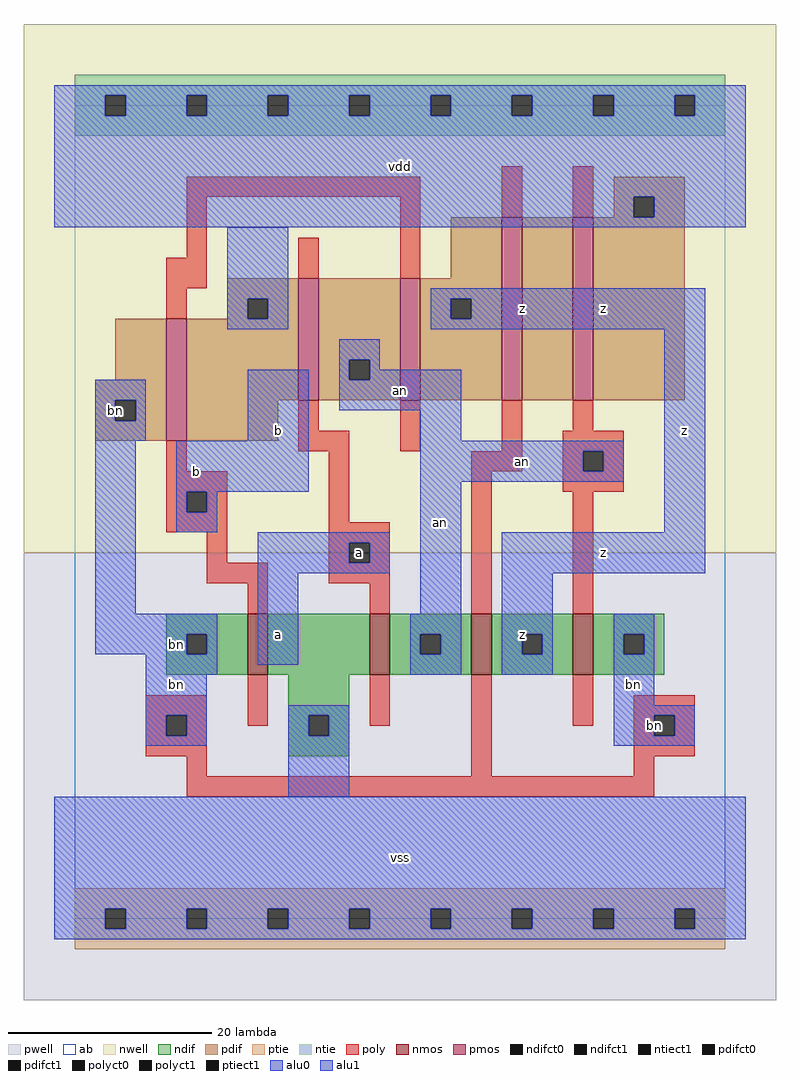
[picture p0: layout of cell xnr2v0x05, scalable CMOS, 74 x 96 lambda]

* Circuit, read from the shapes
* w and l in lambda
.subckt xnr2v0x05 a an b bn vdd vss z
M1 vss b bn vss nfet w=6 l=2
M2 an a vss vss nfet w=6 l=2
M3 z bn an vss nfet w=6 l=2
M4 bn an z vss nfet w=6 l=2
M5 vdd b bn vdd pfet w=12 l=2
M6 an a vdd vdd pfet w=12 l=2
M7 z b an vdd pfet w=12 l=2
M8 n1 bn z vdd pfet w=18 l=2
M9 vdd an n1 vdd pfet w=18 l=2
.ends

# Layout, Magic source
magic
tech scmos
<< ab >>
rect 0 0 64 80
<< nwell >>
rect -5 36 69 88
<< pwell >>
rect -5 -8 69 36
<< poly >>
rect 11 71 34 73
rect 11 65 13 71
rect 9 62 13 65
rect 22 63 24 67
rect 32 63 34 71
rect 42 69 44 74
rect 49 69 51 74
rect 9 59 11 62
rect 22 48 24 51
rect 9 44 11 47
rect 22 46 27 48
rect 32 46 34 51
rect 42 46 44 51
rect 49 48 51 51
rect 9 42 15 44
rect 9 40 11 42
rect 13 40 15 42
rect 9 38 15 40
rect 13 35 15 38
rect 25 39 27 46
rect 39 44 44 46
rect 48 46 54 48
rect 48 44 50 46
rect 52 44 54 46
rect 25 37 31 39
rect 25 35 27 37
rect 29 35 31 37
rect 13 33 19 35
rect 25 33 31 35
rect 17 30 19 33
rect 29 30 31 33
rect 39 30 41 44
rect 48 42 54 44
rect 49 30 51 42
rect 7 20 13 22
rect 7 18 9 20
rect 11 18 13 20
rect 17 19 19 24
rect 7 16 13 18
rect 29 19 31 24
rect 11 14 13 16
rect 39 14 41 24
rect 49 19 51 24
rect 55 20 61 22
rect 55 18 57 20
rect 59 18 61 20
rect 55 16 61 18
rect 55 14 57 16
rect 11 12 57 14
<< ndif >>
rect 9 28 17 30
rect 9 26 11 28
rect 13 26 17 28
rect 9 24 17 26
rect 19 24 29 30
rect 31 28 39 30
rect 31 26 34 28
rect 36 26 39 28
rect 31 24 39 26
rect 41 28 49 30
rect 41 26 44 28
rect 46 26 49 28
rect 41 24 49 26
rect 51 28 58 30
rect 51 26 54 28
rect 56 26 58 28
rect 51 24 58 26
rect 21 20 27 24
rect 21 18 23 20
rect 25 18 27 20
rect 21 16 27 18
<< pdif >>
rect 53 71 60 73
rect 53 69 55 71
rect 57 69 60 71
rect 37 63 42 69
rect 15 61 22 63
rect 15 59 17 61
rect 19 59 22 61
rect 4 53 9 59
rect 2 51 9 53
rect 2 49 4 51
rect 6 49 9 51
rect 2 47 9 49
rect 11 51 22 59
rect 24 55 32 63
rect 24 53 27 55
rect 29 53 32 55
rect 24 51 32 53
rect 34 61 42 63
rect 34 59 37 61
rect 39 59 42 61
rect 34 51 42 59
rect 44 51 49 69
rect 51 51 60 69
rect 11 47 20 51
<< alu1 >>
rect -2 81 66 82
rect -2 79 3 81
rect 5 79 11 81
rect 13 79 19 81
rect 21 79 27 81
rect 29 79 35 81
rect 37 79 43 81
rect 45 79 51 81
rect 53 79 59 81
rect 61 79 66 81
rect -2 71 66 79
rect -2 69 55 71
rect 57 69 66 71
rect -2 68 66 69
rect 35 61 62 62
rect 35 59 37 61
rect 39 59 62 61
rect 35 58 62 59
rect 17 47 23 54
rect 10 42 23 47
rect 10 40 11 42
rect 13 40 14 42
rect 10 38 14 40
rect 18 37 31 38
rect 18 35 27 37
rect 29 35 31 37
rect 18 34 31 35
rect 18 25 22 34
rect 58 38 62 58
rect 42 34 62 38
rect 42 28 47 34
rect 42 26 44 28
rect 46 26 47 28
rect 42 24 47 26
rect -2 1 66 12
rect -2 -1 3 1
rect 5 -1 11 1
rect 13 -1 19 1
rect 21 -1 27 1
rect 29 -1 35 1
rect 37 -1 43 1
rect 45 -1 51 1
rect 53 -1 59 1
rect 61 -1 66 1
rect -2 -2 66 -1
<< ptie >>
rect 0 1 64 3
rect 0 -1 3 1
rect 5 -1 11 1
rect 13 -1 19 1
rect 21 -1 27 1
rect 29 -1 35 1
rect 37 -1 43 1
rect 45 -1 51 1
rect 53 -1 59 1
rect 61 -1 64 1
rect 0 -3 64 -1
<< ntie >>
rect 0 81 64 83
rect 0 79 3 81
rect 5 79 11 81
rect 13 79 19 81
rect 21 79 27 81
rect 29 79 35 81
rect 37 79 43 81
rect 45 79 51 81
rect 53 79 59 81
rect 61 79 64 81
rect 0 77 64 79
<< nmos >>
rect 17 24 19 30
rect 29 24 31 30
rect 39 24 41 30
rect 49 24 51 30
<< pmos >>
rect 9 47 11 59
rect 22 51 24 63
rect 32 51 34 63
rect 42 51 44 69
rect 49 51 51 69
<< polyct0 >>
rect 50 44 52 46
rect 9 18 11 20
rect 57 18 59 20
<< polyct1 >>
rect 11 40 13 42
rect 27 35 29 37
<< ndifct0 >>
rect 11 26 13 28
rect 34 26 36 28
rect 54 26 56 28
rect 23 18 25 20
<< ndifct1 >>
rect 44 26 46 28
<< ntiect1 >>
rect 3 79 5 81
rect 11 79 13 81
rect 19 79 21 81
rect 27 79 29 81
rect 35 79 37 81
rect 43 79 45 81
rect 51 79 53 81
rect 59 79 61 81
<< ptiect1 >>
rect 3 -1 5 1
rect 11 -1 13 1
rect 19 -1 21 1
rect 27 -1 29 1
rect 35 -1 37 1
rect 43 -1 45 1
rect 51 -1 53 1
rect 59 -1 61 1
<< pdifct0 >>
rect 17 59 19 61
rect 4 49 6 51
rect 27 53 29 55
<< pdifct1 >>
rect 55 69 57 71
rect 37 59 39 61
<< alu0 >>
rect 15 61 21 68
rect 15 59 17 61
rect 19 59 21 61
rect 15 58 21 59
rect 26 55 30 57
rect 2 51 7 53
rect 2 49 4 51
rect 6 49 7 51
rect 2 47 7 49
rect 26 53 27 55
rect 29 54 30 55
rect 29 53 38 54
rect 26 50 38 53
rect 2 30 6 47
rect 34 47 38 50
rect 34 46 54 47
rect 34 44 50 46
rect 52 44 54 46
rect 34 43 54 44
rect 2 28 14 30
rect 2 26 11 28
rect 13 26 14 28
rect 7 24 14 26
rect 34 30 38 43
rect 33 28 38 30
rect 33 26 34 28
rect 36 26 38 28
rect 33 24 38 26
rect 53 28 57 30
rect 53 26 54 28
rect 56 26 57 28
rect 7 20 13 24
rect 53 21 57 26
rect 7 18 9 20
rect 11 18 13 20
rect 7 17 13 18
rect 21 20 27 21
rect 21 18 23 20
rect 25 18 27 20
rect 21 12 27 18
rect 53 20 61 21
rect 53 18 57 20
rect 59 18 61 20
rect 53 17 61 18
<< labels >>
rlabel alu0 10 23 10 23 6 bn
rlabel alu0 10 27 10 27 6 bn
rlabel alu0 4 50 4 50 6 bn
rlabel alu0 36 39 36 39 6 an
rlabel alu0 32 52 32 52 6 an
rlabel alu0 57 19 57 19 6 bn
rlabel alu0 55 23 55 23 6 bn
rlabel alu0 44 45 44 45 6 an
rlabel alu1 12 44 12 44 6 b
rlabel polyct1 28 36 28 36 6 a
rlabel alu1 20 28 20 28 6 a
rlabel alu1 20 48 20 48 6 b
rlabel alu1 32 6 32 6 6 vss
rlabel alu1 44 28 44 28 6 z
rlabel alu1 44 60 44 60 6 z
rlabel alu1 32 74 32 74 6 vdd
rlabel alu1 52 36 52 36 6 z
rlabel alu1 60 48 60 48 6 z
rlabel alu1 52 60 52 60 6 z
<< end >>
